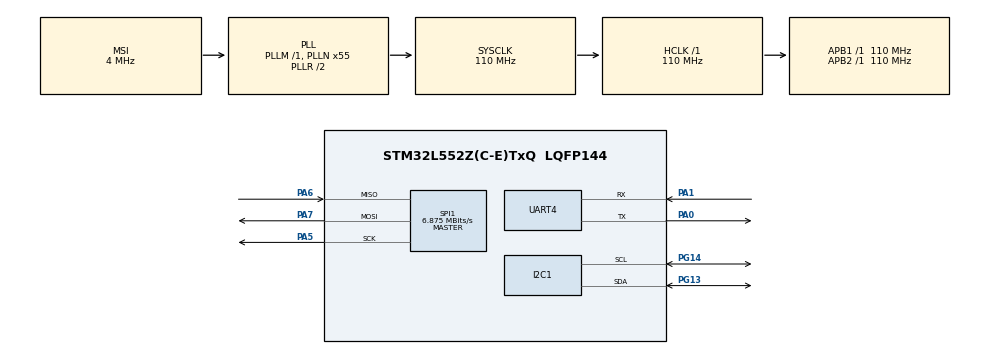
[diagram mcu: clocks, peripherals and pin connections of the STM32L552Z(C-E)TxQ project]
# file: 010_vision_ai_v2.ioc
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Dma.Request0=UART4_RX
Dma.UART4_RX.0.Channel_PRIV_NPRIV=DMA_CHANNEL_NPRIV_DISABLE
Dma.UART4_RX.0.Direction=DMA_PERIPH_TO_MEMORY
Dma.UART4_RX.0.EventEnable=DISABLE
Dma.UART4_RX.0.Instance=DMA1_Channel1
Dma.UART4_RX.0.MemDataAlignment=DMA_MDATAALIGN_BYTE
Dma.UART4_RX.0.MemInc=DMA_MINC_ENABLE
Dma.UART4_RX.0.Mode=DMA_CIRCULAR
Dma.UART4_RX.0.PeriphDataAlignment=DMA_PDATAALIGN_BYTE
Dma.UART4_RX.0.PeriphInc=DMA_PINC_DISABLE
Dma.UART4_RX.0.Polarity=HAL_DMAMUX_REQ_GEN_RISING
Dma.UART4_RX.0.Priority=DMA_PRIORITY_LOW
Dma.UART4_RX.0.RequestNumber=1
Dma.UART4_RX.0.SignalID=NONE
Dma.UART4_RX.0.SyncEnable=DISABLE
Dma.UART4_RX.0.SyncPolarity=HAL_DMAMUX_SYNC_NO_EVENT
Dma.UART4_RX.0.SyncRequestNumber=1
Dma.UART4_RX.0.SyncSignalID=NONE
I2C1.Timing=0x60514452
Mcu.Family=STM32L5
Mcu.Name=STM32L552Z(C-E)TxQ
Mcu.Package=LQFP144
Mcu.TrustZone=disable
NUCLEO-L552ZE-Q.BUTTON=1
NUCLEO-L552ZE-Q.LD1=true
NUCLEO-L552ZE-Q.LD2=true
NUCLEO-L552ZE-Q.LD3=true
NUCLEO-L552ZE-Q.VCP=true
NVIC.DMA1_Channel1_IRQn=true\:0\:0\:false\:false\:true\:false\:true\:true
NVIC.EXTI13_IRQn=true\:0\:0\:false\:false\:true\:false\:true\:true
NVIC.I2C1_ER_IRQn=true\:0\:0\:false\:false\:true\:true\:true\:true
NVIC.I2C1_EV_IRQn=true\:0\:0\:false\:false\:true\:true\:true\:true
NVIC.PriorityGroup=NVIC_PRIORITYGROUP_3
NVIC.SPI1_IRQn=true\:0\:0\:false\:false\:true\:true\:true\:true
NVIC.UART4_IRQn=true\:0\:0\:false\:false\:true\:true\:true\:true
PA0.Mode=Asynchronous
PA0.Signal=UART4_TX
PA1.Mode=Asynchronous
PA1.Signal=UART4_RX
PA13\ (JTMS/SWDIO).Signal=DEBUG_JTMS-SWDIO
PA14\ (JTCK/SWCLK).Signal=DEBUG_JTCK-SWCLK
PA5.Mode=Full_Duplex_Master
PA5.Signal=SPI1_SCK
PA6.Mode=Full_Duplex_Master
PA6.Signal=SPI1_MISO
PA7.Mode=Full_Duplex_Master
PA7.Signal=SPI1_MOSI
PB3\ (JTDO/TRACESWO).Signal=DEBUG_JTDO-SWO
PC14-OSC32_IN\ (PC14).Signal=RCC_OSC32_IN
PC15-OSC32_OUT\ (PC15).Signal=RCC_OSC32_OUT
PG13.Mode=I2C
PG13.Signal=I2C1_SDA
PG14.Mode=I2C
PG14.Signal=I2C1_SCL
PG7.Signal=LPUART1_TX
PG8.Signal=LPUART1_RX
ProjectManager.HeapSize=0x200
ProjectManager.StackSize=0x400
ProjectManager.TargetToolchain=STM32CubeIDE
RCC.ADCCLockSelection=RCC_ADCCLKSOURCE_SYSCLK
RCC.ADCFreq_Value=110000000
RCC.AHBFreq_Value=110000000
RCC.APB1Freq_Value=110000000
RCC.APB1TimFreq_Value=110000000
RCC.APB2Freq_Value=110000000
RCC.APB2TimFreq_Value=110000000
RCC.CK48CLockSelection=RCC_USBCLKSOURCE_HSI48
RCC.CortexFreq_Value=110000000
RCC.HCLKFreq_Value=110000000
RCC.HSE_VALUE=8000000
RCC.HSI48_VALUE=48000000
RCC.HSI_VALUE=16000000
RCC.LSE_VALUE=32768
RCC.MSI_VALUE=4000000
RCC.PLLN=55
RCC.PLLSAI1N=24
RCC.RTCClockSelection=RCC_RTCCLKSOURCE_LSE
RCC.SYSCLKFreq_VALUE=110000000
RCC.SYSCLKSource=RCC_SYSCLKSOURCE_PLLCLK
RCC.USBFreq_Value=48000000
RCC.VCOOutputFreq_Value=220000000
SPI1.BaudRatePrescaler=SPI_BAUDRATEPRESCALER_16
SPI1.CalculateBaudRate=6.875 MBits/s
SPI1.Direction=SPI_DIRECTION_2LINES
SPI1.Mode=SPI_MODE_MASTER
SPI1.VirtualType=VM_MASTER
VP_ICACHE_VS_ICACHE.Mode=DirectMappedCache
VP_NUCLEO-L552ZE-Q_VS_BSP_COMMON.Mode=COMMON
VP_PWR_VS_DBSignals.Mode=DisableDeadBatterySignals
VP_PWR_VS_SECSignals.Mode=Security/Privilege
board=NUCLEO-L552ZE-Q

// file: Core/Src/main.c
/* USER CODE BEGIN Header */
/**
 ******************************************************************************
 * @file           : main.c
 * @brief          : Main program body
 ******************************************************************************
 * @attention
 *
 * Copyright (c) 2026 STMicroelectronics.
 * All rights reserved.
 *
 * This software is licensed under terms that can be found in the LICENSE file
 * in the root directory of this software component.
 * If no LICENSE file comes with this software, it is provided AS-IS.
 *
 ******************************************************************************
 */
/* USER CODE END Header */
#include "main.h"

/* USER CODE BEGIN Includes */
#include "sscma_stm32l5.h"
#include <stdio.h>
/* USER CODE END Includes */

COM_InitTypeDef BspCOMInit;
I2C_HandleTypeDef hi2c1;

SPI_HandleTypeDef hspi1;

UART_HandleTypeDef huart4;
DMA_HandleTypeDef hdma_uart4_rx;

/* USER CODE BEGIN PV */
static sscma_handle_t sscma;
/* USER CODE END PV */

void SystemClock_Config(void);
static void MX_GPIO_Init(void);
static void MX_DMA_Init(void);
static void MX_I2C1_Init(void);
static void MX_ICACHE_Init(void);
static void MX_UART4_Init(void);
static void MX_SPI1_Init(void);

int main(void)
{

	/* USER CODE BEGIN 1 */
	sscma_err_t err;
	/* USER CODE END 1 */

	/* MCU Configuration--------------------------------------------------------*/

	/* Reset of all peripherals, Initializes the Flash interface and the Systick. */
	HAL_Init();

	/* Configure the system clock */
	SystemClock_Config();

	/* Initialize all configured peripherals */
	MX_GPIO_Init();
	MX_DMA_Init();
	MX_I2C1_Init();
	MX_ICACHE_Init();
	MX_UART4_Init();
	MX_SPI1_Init();

	/* Initialize leds */
	BSP_LED_Init(LED_GREEN);
	BSP_LED_Init(LED_BLUE);
	BSP_LED_Init(LED_RED);

	/* Initialize USER push-button, will be used to trigger an interrupt each time it's pressed.*/
	BSP_PB_Init(BUTTON_USER, BUTTON_MODE_EXTI);

	/* Initialize COM1 port (115200, 8 bits (7-bit data + 1 stop bit), no parity */
	BspCOMInit.BaudRate   = 115200;
	BspCOMInit.WordLength = COM_WORDLENGTH_8B;
	BspCOMInit.StopBits   = COM_STOPBITS_1;
	BspCOMInit.Parity     = COM_PARITY_NONE;
	BspCOMInit.HwFlowCtl  = COM_HWCONTROL_NONE;
	if (BSP_COM_Init(COM1, &BspCOMInit) != BSP_ERROR_NONE)
	{
		Error_Handler();
	}

	/* Infinite loop */
	/* USER CODE BEGIN WHILE */
	/* Initialize handle */
	sscma_init_handle(&sscma);

	/* Initialize with I2C */
	err = sscma_begin_i2c(&sscma, &hi2c1, SSCMA_I2C_ADDRESS);
	if (err != SSCMA_OK) {
		printf("SSCMA init failed: %s\n", sscma_err_to_str(err));
	}

	/* Get device info */
	printf("Device ID: %s\n", sscma_get_id(&sscma, true));
	printf("Device Name: %s\n", sscma_get_name(&sscma, true));

	/* Run inference in loop */
	while (1)
	{
		printf("Running inference...\n");
		err = sscma_invoke(&sscma, 1, false, false);
		if (err == SSCMA_OK) {
			const sscma_results_t *results = sscma_get_results(&sscma);

			printf("invoke success\n");
			printf("perf: preprocess=%d, inference=%d, postprocess=%d\n",
					results->perf.preprocess, results->perf.inference, results->perf.postprocess);

			for (int i = 0; i < results->num_boxes; i++) {
				printf("Box[%d] target=%d, score=%d, x=%d, y=%d, w=%d, h=%d\n",
						i,
						results->boxes[i].target,
						results->boxes[i].score,
						results->boxes[i].x,
						results->boxes[i].y,
						results->boxes[i].w,
						results->boxes[i].h);
			}

			for (int i = 0; i < results->num_classes; i++) {
				printf("Class[%d] target=%d, score=%d\n",
						i,
						results->classes[i].target,
						results->classes[i].score);
			}

			for (int i = 0; i < results->num_points; i++) {
				printf("Point[%d] target=%d, score=%d, x=%d, y=%d\n",
						i,
						results->points[i].target,
						results->points[i].score,
						results->points[i].x,
						results->points[i].y);
			}
		} else {
			printf("Inference failed: %s\n", sscma_err_to_str(err));
		}

		HAL_Delay(100);

		/* USER CODE END WHILE */

	}
}

void SystemClock_Config(void)
{
	RCC_OscInitTypeDef RCC_OscInitStruct = {0};
	RCC_ClkInitTypeDef RCC_ClkInitStruct = {0};

	/** Configure the main internal regulator output voltage
	 */
	if (HAL_PWREx_ControlVoltageScaling(PWR_REGULATOR_VOLTAGE_SCALE0) != HAL_OK)
	{
		Error_Handler();
	}

	/** Initializes the RCC Oscillators according to the specified parameters
	 * in the RCC_OscInitTypeDef structure.
	 */
	RCC_OscInitStruct.OscillatorType = RCC_OSCILLATORTYPE_MSI;
	RCC_OscInitStruct.MSIState = RCC_MSI_ON;
	RCC_OscInitStruct.MSICalibrationValue = RCC_MSICALIBRATION_DEFAULT;
	RCC_OscInitStruct.MSIClockRange = RCC_MSIRANGE_6;
	RCC_OscInitStruct.PLL.PLLState = RCC_PLL_ON;
	RCC_OscInitStruct.PLL.PLLSource = RCC_PLLSOURCE_MSI;
	RCC_OscInitStruct.PLL.PLLM = 1;
	RCC_OscInitStruct.PLL.PLLN = 55;
	RCC_OscInitStruct.PLL.PLLP = RCC_PLLP_DIV7;
	RCC_OscInitStruct.PLL.PLLQ = RCC_PLLQ_DIV2;
	RCC_OscInitStruct.PLL.PLLR = RCC_PLLR_DIV2;
	if (HAL_RCC_OscConfig(&RCC_OscInitStruct) != HAL_OK)
	{
		Error_Handler();
	}

	/** Initializes the CPU, AHB and APB buses clocks
	 */
	RCC_ClkInitStruct.ClockType = RCC_CLOCKTYPE_HCLK|RCC_CLOCKTYPE_SYSCLK
			|RCC_CLOCKTYPE_PCLK1|RCC_CLOCKTYPE_PCLK2;
	RCC_ClkInitStruct.SYSCLKSource = RCC_SYSCLKSOURCE_PLLCLK;
	RCC_ClkInitStruct.AHBCLKDivider = RCC_SYSCLK_DIV1;
	RCC_ClkInitStruct.APB1CLKDivider = RCC_HCLK_DIV1;
	RCC_ClkInitStruct.APB2CLKDivider = RCC_HCLK_DIV1;

	if (HAL_RCC_ClockConfig(&RCC_ClkInitStruct, FLASH_LATENCY_5) != HAL_OK)
	{
		Error_Handler();
	}
}

static void MX_I2C1_Init(void)
{

	hi2c1.Instance = I2C1;
	hi2c1.Init.Timing = 0x60514452;
	hi2c1.Init.OwnAddress1 = 0;
	hi2c1.Init.AddressingMode = I2C_ADDRESSINGMODE_7BIT;
	hi2c1.Init.DualAddressMode = I2C_DUALADDRESS_DISABLE;
	hi2c1.Init.OwnAddress2 = 0;
	hi2c1.Init.OwnAddress2Masks = I2C_OA2_NOMASK;
	hi2c1.Init.GeneralCallMode = I2C_GENERALCALL_DISABLE;
	hi2c1.Init.NoStretchMode = I2C_NOSTRETCH_DISABLE;
	if (HAL_I2C_Init(&hi2c1) != HAL_OK)
	{
		Error_Handler();
	}

	/** Configure Analogue filter
	 */
	if (HAL_I2CEx_ConfigAnalogFilter(&hi2c1, I2C_ANALOGFILTER_ENABLE) != HAL_OK)
	{
		Error_Handler();
	}

	/** Configure Digital filter
	 */
	if (HAL_I2CEx_ConfigDigitalFilter(&hi2c1, 0) != HAL_OK)
	{
		Error_Handler();
	}

}

static void MX_ICACHE_Init(void)
{

	/** Enable instruction cache in 1-way (direct mapped cache)
	 */
	if (HAL_ICACHE_ConfigAssociativityMode(ICACHE_1WAY) != HAL_OK)
	{
		Error_Handler();
	}
	if (HAL_ICACHE_Enable() != HAL_OK)
	{
		Error_Handler();
	}

}

static void MX_SPI1_Init(void)
{

	/* SPI1 parameter configuration*/
	hspi1.Instance = SPI1;
	hspi1.Init.Mode = SPI_MODE_MASTER;
	hspi1.Init.Direction = SPI_DIRECTION_2LINES;
	hspi1.Init.DataSize = SPI_DATASIZE_4BIT;
	hspi1.Init.CLKPolarity = SPI_POLARITY_LOW;
	hspi1.Init.CLKPhase = SPI_PHASE_1EDGE;
	hspi1.Init.NSS = SPI_NSS_SOFT;
	hspi1.Init.BaudRatePrescaler = SPI_BAUDRATEPRESCALER_16;
	hspi1.Init.FirstBit = SPI_FIRSTBIT_MSB;
	hspi1.Init.TIMode = SPI_TIMODE_DISABLE;
	hspi1.Init.CRCCalculation = SPI_CRCCALCULATION_DISABLE;
	hspi1.Init.CRCPolynomial = 7;
	hspi1.Init.CRCLength = SPI_CRC_LENGTH_DATASIZE;
	hspi1.Init.NSSPMode = SPI_NSS_PULSE_ENABLE;
	if (HAL_SPI_Init(&hspi1) != HAL_OK)
	{
		Error_Handler();
	}

}

static void MX_UART4_Init(void)
{

	huart4.Instance = UART4;
	huart4.Init.BaudRate = 115200;
	huart4.Init.WordLength = UART_WORDLENGTH_8B;
	huart4.Init.StopBits = UART_STOPBITS_1;
	huart4.Init.Parity = UART_PARITY_NONE;
	huart4.Init.Mode = UART_MODE_TX_RX;
	huart4.Init.HwFlowCtl = UART_HWCONTROL_NONE;
	huart4.Init.OverSampling = UART_OVERSAMPLING_16;
	huart4.Init.OneBitSampling = UART_ONE_BIT_SAMPLE_DISABLE;
	huart4.Init.ClockPrescaler = UART_PRESCALER_DIV1;
	huart4.AdvancedInit.AdvFeatureInit = UART_ADVFEATURE_NO_INIT;
	if (HAL_UART_Init(&huart4) != HAL_OK)
	{
		Error_Handler();
	}
	if (HAL_UARTEx_SetTxFifoThreshold(&huart4, UART_TXFIFO_THRESHOLD_1_8) != HAL_OK)
	{
		Error_Handler();
	}
	if (HAL_UARTEx_SetRxFifoThreshold(&huart4, UART_RXFIFO_THRESHOLD_1_8) != HAL_OK)
	{
		Error_Handler();
	}
	if (HAL_UARTEx_DisableFifoMode(&huart4) != HAL_OK)
	{
		Error_Handler();
	}

}

static void MX_DMA_Init(void)
{

	/* DMA controller clock enable */
	__HAL_RCC_DMAMUX1_CLK_ENABLE();
	__HAL_RCC_DMA1_CLK_ENABLE();

	/* DMA interrupt init */
	/* DMA1_Channel1_IRQn interrupt configuration */
	HAL_NVIC_SetPriority(DMA1_Channel1_IRQn, 0, 0);
	HAL_NVIC_EnableIRQ(DMA1_Channel1_IRQn);

}

static void MX_GPIO_Init(void)
{

	/* GPIO Ports Clock Enable */
	__HAL_RCC_GPIOC_CLK_ENABLE();
	__HAL_RCC_GPIOA_CLK_ENABLE();
	__HAL_RCC_GPIOG_CLK_ENABLE();
	HAL_PWREx_EnableVddIO2();
	__HAL_RCC_GPIOB_CLK_ENABLE();

}

void Error_Handler(void)
{
	__disable_irq();
	while (1)
	{
	}
}
